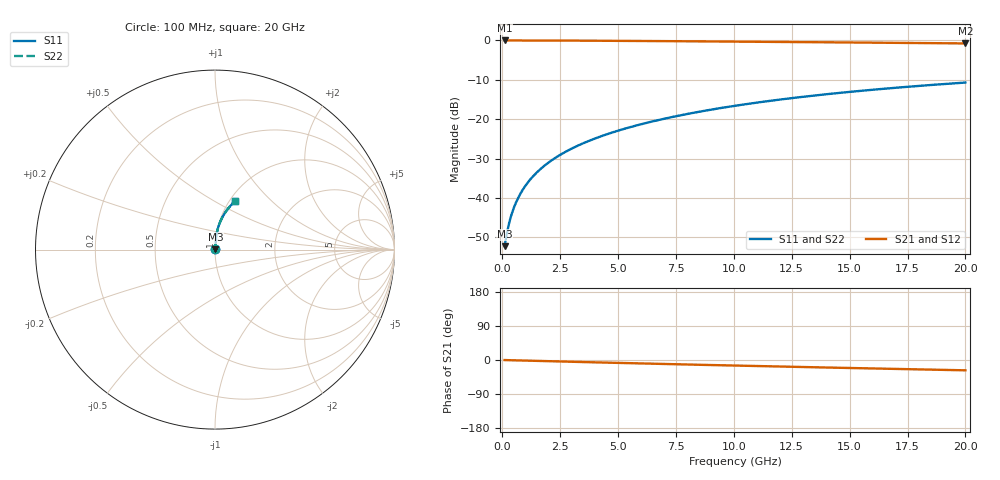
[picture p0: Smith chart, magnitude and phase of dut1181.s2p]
! Touchstone file exported from HFSS 2024.1.0
!  File:  C:/UserFiles/LocalFiles/RDL_TSV_Batchsim/temp_RDL_bottom_1181_1780057245.aedt
!  Generated:  08:23:07 PM May 29, 2026
!  Design:  RDL_bottom
!  Project:  temp_RDL_bottom_1181_1780057245
!  Setup:  Setup1
!  Solution:  Sweep
! Variables:
!  dtsv = 10.80580581um
!  hbump = 3um
!  htsv = 66.5um
!  ldown = 355.21um
!  lrdl = 100um
!  p = 40
!  p1 = 48.57um
!  rhole = 1um
!  t = 450um
!  tdown = 3.82um
!  trdl = 3.915915916um
!  wdown = 18.86um
!  wrdl = 20um
# GHz S MA R 50.000000
! Terminal data exported
! Port[1] = RDL1_T1
! Port[2] = RDL1_T2
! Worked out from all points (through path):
!   200 points, 100 MHz to 20 GHz, reference 50 ohm
!   highest |S21| = -0.02 dB at 100 MHz (marker M1); lowest = -0.8 dB at 20 GHz (marker M2)
!   group delay of S21, straight-line fit = 3.76 ps
!   lowest |S11| = -52.3 dB at 100 MHz (marker M3), VSWR 1.00, Z = 50.2 + j0.151 ohm
!   |S11| at or under -10 dB: start of sweep to end of sweep
!   |S22| runs from -52.3 to -10.7 dB; largest |S21 - S12| = 3.4e-15
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0.1  0.002436 38.0  0.9981 -0.2  0.9981 -0.2  0.002436 38.0
! Gamma 0 0 0 0
! Port Impedance 50 0 50 0
0.2  0.003573 56.1  0.998 -0.3  0.998 -0.3  0.003573 56.1
0.3  0.004856 64.7  0.9979 -0.5  0.9979 -0.5  0.004856 64.7
0.4  0.006174 69.7  0.9978 -0.6  0.9978 -0.6  0.006174 69.7
0.5  0.007504 72.9  0.9977 -0.8  0.9977 -0.8  0.007504 72.9
0.6  0.008843 75.2  0.9976 -1.0  0.9976 -1.0  0.008843 75.2
0.8  0.01154 78.3  0.9974 -1.3  0.9974 -1.3  0.01154 78.3
1.1  0.01564 81.0  0.9971 -1.7  0.9971 -1.7  0.01564 81.0
1.5  0.02117 83.0  0.9966 -2.4  0.9966 -2.4  0.02117 83.0
1.8  0.02535 83.8  0.9961 -2.8  0.9961 -2.8  0.02535 83.8
2.1  0.02956 84.4  0.9955 -3.3  0.9955 -3.3  0.02956 84.4
2.7  0.03803 85.0  0.9942 -4.2  0.9942 -4.2  0.03803 85.0
3.5  0.04947 85.3  0.992 -5.4  0.992 -5.4  0.04947 85.3
4.2  0.05962 85.2  0.9898 -6.5  0.9898 -6.5  0.05962 85.2
5  0.07136 84.9  0.9869 -7.7  0.9869 -7.7  0.07136 84.9
5.9  0.08474 84.3  0.9834 -9.0  0.9834 -9.0  0.08474 84.3
6.8  0.09827 83.6  0.9797 -10.3  0.9797 -10.3  0.09828 83.6
8.4  0.1226 82.0  0.9726 -12.5  0.9726 -12.5  0.1226 82.0
10.1  0.1485 80.1  0.9648 -14.8  0.9648 -14.8  0.1485 80.1
13.4  0.1983 76.0  0.949 -19.1  0.949 -19.1  0.1983 76.0
16.7  0.2462 71.7  0.9324 -23.2  0.9324 -23.2  0.2462 71.7
20  0.2915 67.5  0.9152 -27.2  0.9152 -27.2  0.2915 67.5
